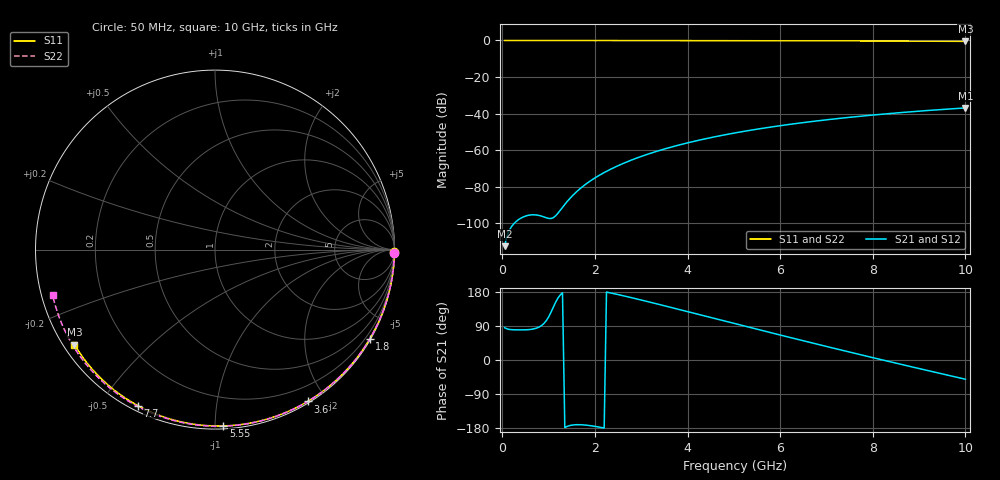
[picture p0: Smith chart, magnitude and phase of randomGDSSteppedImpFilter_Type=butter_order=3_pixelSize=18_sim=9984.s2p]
! freq	dB(S11)	phase(S11)	dB(S12)	phase(S12)
!  dB(S21)	phase(S21)	dB(S22)	phase(S22)
!S-par simulation data
#  GHz  S  DB  R 50
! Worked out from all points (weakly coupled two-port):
!   200 points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, 50 MHz to 10 GHz, reference 50 ohm
!   highest |S21| = -36.88 dB at 10 GHz (marker M1); lowest = -112.4 dB at 50 MHz (marker M2)
!   lowest |S11| = -0.5 dB at 10 GHz (marker M3), VSWR 35.23, Z = 1.55 - j15.3 ohm
!   |S11| at or under -10 dB: nowhere
!   |S22| runs from -0.5 to 0.0 dB; largest |S21 - S12| = 0
!   S11 on the Smith chart (normalised r, x): 50 MHz: open; 1.8 GHz: 0.03, -3.72; 3.6 GHz: 0.02, -1.78; 5.55 GHz: 0.02, -1.05; 7.7 GHz: 0.02, -0.62; 10 GHz: 0.03, -0.31
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0.05  -0.00 -0.9  -112.42 85.3  -112.42 85.3  -0.00 -1.0
0.45  -0.01 -7.6  -96.48 79.5  -96.48 79.5  -0.01 -8.7
0.85  -0.02 -14.4  -96.02 91.2  -96.02 91.2  -0.02 -16.3
1.25  -0.03 -21.0  -92.85 171.4  -92.85 171.4  -0.03 -23.8
1.7  -0.04 -28.4  -80.57 -170.9  -80.57 -170.9  -0.04 -32.2
1.75  -0.04 -29.3  -79.56 -171.2  -79.56 -171.2  -0.04 -33.1
1.8  -0.04 -30.1  -78.60 -171.8  -78.60 -171.8  -0.04 -34.0
2.1  -0.04 -35.0  -73.62 -177.2  -73.62 -177.2  -0.05 -39.5
2.3  -0.05 -38.2  -70.87 178.0  -70.87 178.0  -0.05 -43.2
2.5  -0.05 -41.4  -68.44 172.7  -68.44 172.7  -0.06 -46.8
2.9  -0.06 -47.7  -64.30 161.3  -64.30 161.3  -0.07 -53.9
3.4  -0.07 -55.6  -60.08 146.2  -60.08 146.2  -0.08 -62.6
3.6  -0.08 -58.6  -58.61 140.1  -58.61 140.1  -0.09 -66.1
4.3  -0.10 -69.2  -54.21 118.4  -54.21 118.4  -0.11 -77.8
5.05  -0.12 -80.2  -50.42 95.1  -50.42 95.1  -0.14 -90.0
5.55  -0.14 -87.3  -48.29 79.7  -48.29 79.7  -0.16 -97.9
6.1  -0.17 -94.9  -46.23 62.9  -46.23 62.9  -0.19 -106.4
6.7  -0.20 -103.1  -44.26 44.7  -44.26 44.7  -0.22 -115.5
7.7  -0.27 -116.4  -41.49 15.0  -41.49 15.0  -0.30 -130.3
8.35  -0.32 -124.8  -39.97 -4.0  -39.97 -4.0  -0.36 -139.8
9.2  -0.40 -135.7  -38.25 -28.3  -38.25 -28.3  -0.44 -152.3
10  -0.49 -146.0  -36.88 -50.7  -36.88 -50.7  -0.54 -164.3
